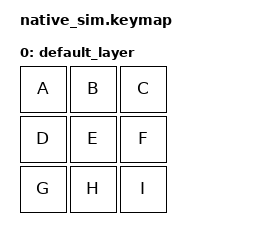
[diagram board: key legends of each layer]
#include <dt-bindings/zmk/keys.h>
#include <dt-bindings/zmk/kscan_mock.h>
#include <dt-bindings/zmk/led_matrix.h>
#include <dt-bindings/zmk/led_matrix_colors.h>
#include <dt-bindings/led/led.h>
#include <behaviors.dtsi>

/ {
    chosen {
        zmk,kscan = &kscan;
        zmk,led-matrix = &led_matrix;
    };

    kscan: native_posix_64_kscan_mock {
        compatible = "zmk,kscan-mock";
        rows = <3>;
        columns = <3>;
        exit-after;
        events = <
            ZMK_MOCK_PRESS(1,1,10)
        >;
    };

    keymap {
        compatible = "zmk,keymap";

        default_layer {
            bindings = <
                &kp A &kp B &kp C
                &kp D &kp E &kp F
                &kp G &kp H &kp I
            >;
        };
    };

    led_matrix_dev: led_matrix_dev {
        compatible = "zmk,led-mock";
        mode = "color";

        led_0 { index = <0>; color-mapping = <LED_COLOR_ID_GREEN LED_COLOR_ID_RED LED_COLOR_ID_BLUE>; };
        led_1 { index = <1>; color-mapping = <LED_COLOR_ID_GREEN LED_COLOR_ID_RED LED_COLOR_ID_BLUE>; };
        led_2 { index = <2>; color-mapping = <LED_COLOR_ID_GREEN LED_COLOR_ID_RED LED_COLOR_ID_BLUE>; };
        led_3 { index = <3>; color-mapping = <LED_COLOR_ID_GREEN LED_COLOR_ID_RED LED_COLOR_ID_BLUE>; };
        led_4 { index = <4>; color-mapping = <LED_COLOR_ID_GREEN LED_COLOR_ID_RED LED_COLOR_ID_BLUE>; };
        led_5 { index = <5>; color-mapping = <LED_COLOR_ID_GREEN LED_COLOR_ID_RED LED_COLOR_ID_BLUE>; };
        led_6 { index = <6>; color-mapping = <LED_COLOR_ID_GREEN LED_COLOR_ID_RED LED_COLOR_ID_BLUE>; };
        led_7 { index = <7>; color-mapping = <LED_COLOR_ID_GREEN LED_COLOR_ID_RED LED_COLOR_ID_BLUE>; };
        led_8 { index = <8>; color-mapping = <LED_COLOR_ID_GREEN LED_COLOR_ID_RED LED_COLOR_ID_BLUE>; };
    };

    led_matrix: led_matrix {
        compatible = "zmk,led-matrix";
        led-driver = "matrix";
        led-device = <&led_matrix_dev>;
        led-count = <9>;
        matrix-led-grid = <
            0 1 2 LM_BREAK
            3 4 5 LM_BREAK
            6 7 8
        >;

        profile0 {
            profile-id = <0>;
            display-name = "Source Color";
            renderer = "keypress";
            keypress-afterglow-ms = <0>;
            keypress-range = <1>;
            colors = <
                0x640000 0x006400 0x640064
                0x646400 0x000064 0x640032
                0x003264 0x326400 0x643200
            >;
            brightness = <100>;
            period-ms = <1000>;
        };
    };
};
